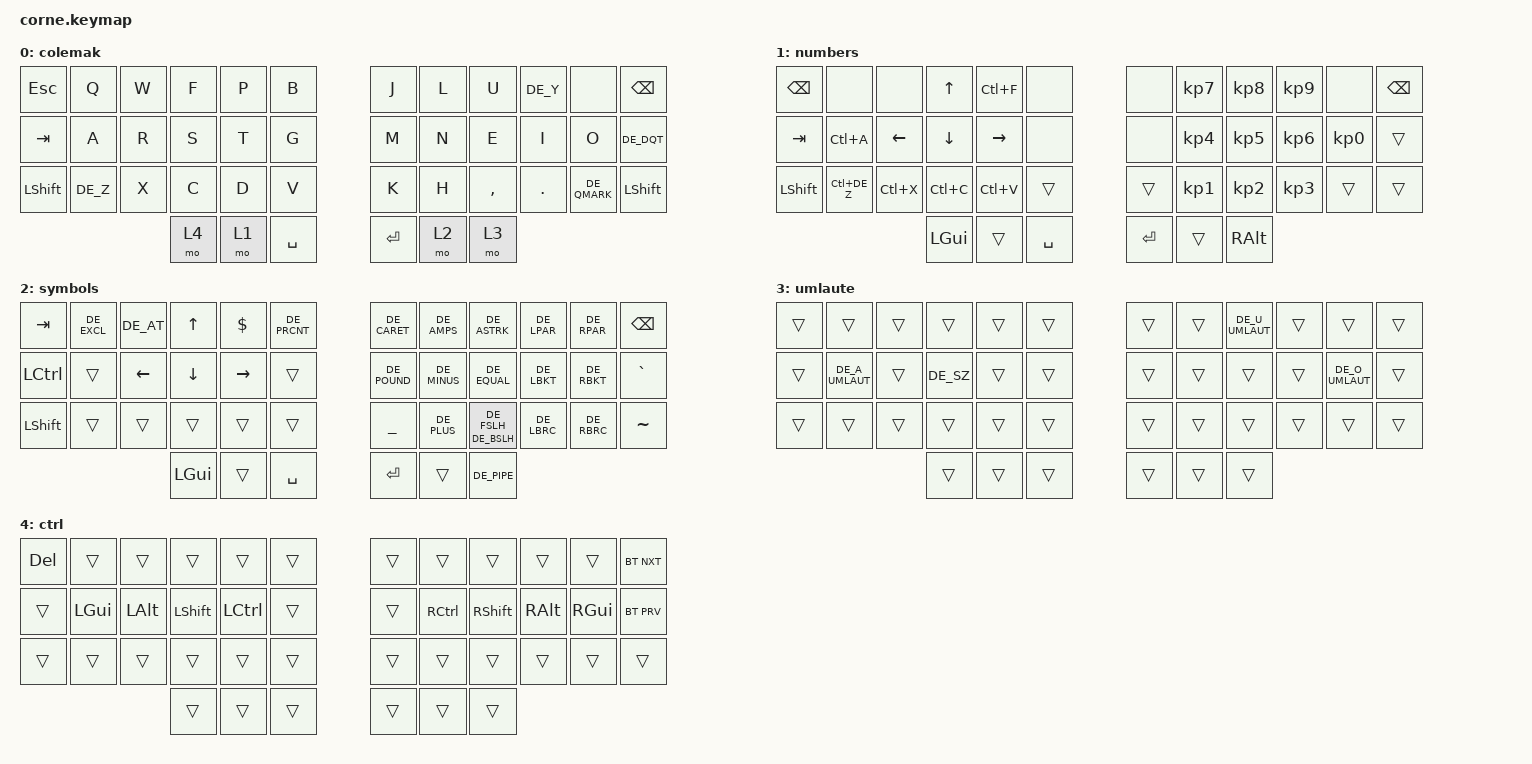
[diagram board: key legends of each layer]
// ZMK includes
#include <behaviors.dtsi>
#include <dt-bindings/zmk/keys.h>
#include <dt-bindings/zmk/bt.h>
#include <locale/keys_de.h>
#include <dt-bindings/zmk/outputs.h>

// Personal includes
// #include "includes/behaviours_homerow_mods.dtsi"

/ {
    keymap {
        compatible = "zmk,keymap";

        colemak { 
            bindings = <
        // ╭────────────────────────┬────────────────────────┬────────────────────────┬────────────────────────┬────────────────────────┬────────────────────────╮    ╭────────────────────────┬────────────────────────┬────────────────────────┬───────────────────────┬────────────────────────┬────────────────────────╮
             &kp ESCAPE               &kp Q                    &kp W                    &kp F                    &kp P                    &kp B                         &kp J                    &kp L                    &kp U                    &kp DE_Y                &none                    &kp BSPC
        // ├────────────────────────┼────────────────────────┼────────────────────────┼────────────────────────┼────────────────────────┼────────────────────────┤    ├────────────────────────┼────────────────────────┼────────────────────────┼───────────────────────┼────────────────────────┼────────────────────────┤
             &kp TAB                  &kp A                    &kp R                    &kp S                    &kp T                    &kp G                         &kp M                    &kp N                    &kp E                    &kp I                   &kp O                    &kp DE_DQT
        // ├────────────────────────┼────────────────────────┼────────────────────────┼────────────────────────┼────────────────────────┼────────────────────────┤    ├────────────────────────┼────────────────────────┼────────────────────────┼───────────────────────┼────────────────────────┼────────────────────────┤
             &kp LSHFT                &kp DE_Z                 &kp X                    &kp C                    &kp D                    &kp V                         &kp K                    &kp H                    &kp COMMA                &kp DOT                 &kp DE_QMARK             &kp LSHFT
        // ╰────────────────────────┴────────────────────────┴────────────────────────┴────────────────────────┼────────────────────────┼────────────────────────┤    ├────────────────────────┼────────────────────────┼────────────────────────┼───────────────────────┼────────────────────────┼────────────────────────╯ 
                                                                                        &mo 4                    &mo 1                    &kp SPACE                     &kp RET                  &mo 2                    &mo 3
        //                                                                            ╰────────────────────────┴────────────────────────┴────────────────────────╯    ╰────────────────────────┴────────────────────────┴────────────────────────╯
            >; 
        };

        //mo1
        numbers {
            bindings = <
        // ╭────────────────────────┬────────────────────────┬────────────────────────┬────────────────────────┬────────────────────────┬────────────────────────╮    ╭────────────────────────┬────────────────────────┬────────────────────────┬───────────────────────┬────────────────────────┬────────────────────────╮
             &kp BSPC                 &none                    &none                    &kp UP_ARROW             &kp LC(F)                &none                         &none                    &kp KP_NUMBER_7          &kp KP_NUMBER_8          &kp KP_NUMBER_9         &none                    &kp BSPC
        // ├────────────────────────┼────────────────────────┼────────────────────────┼────────────────────────┼────────────────────────┼────────────────────────┤    ├────────────────────────┼────────────────────────┼────────────────────────┼───────────────────────┼────────────────────────┼────────────────────────┤
             &kp TAB                  &kp LC(A)                &kp LEFT_ARROW           &kp DOWN                 &kp RIGHT                &none                         &none                    &kp KP_NUMBER_4          &kp KP_NUMBER_5          &kp KP_NUMBER_6         &kp KP_NUMBER_0          &trans
        // ├────────────────────────┼────────────────────────┼────────────────────────┼────────────────────────┼────────────────────────┼────────────────────────┤    ├────────────────────────┼────────────────────────┼────────────────────────┼───────────────────────┼────────────────────────┼────────────────────────┤
             &kp LSHFT                &kp LC(DE_Z)             &kp LC(X)                &kp LC(C)                &kp LC(V)                &trans                        &trans                   &kp KP_NUMBER_1          &kp KP_NUMBER_2          &kp KP_NUMBER_3         &trans                   &trans 
        // ├────────────────────────┼────────────────────────┼────────────────────────┼────────────────────────┼────────────────────────┼────────────────────────┤    ├────────────────────────┼────────────────────────┼────────────────────────┼───────────────────────┼────────────────────────┼────────────────────────┤
                                                                                        &kp LGUI                 &trans                   &kp SPACE                     &kp RET                  &trans                   &kp RALT
        //                                                                            ╰────────────────────────┴────────────────────────┴────────────────────────╯    ╰────────────────────────┴────────────────────────┴────────────────────────╯
            >;
        };

        //mo2
        symbols {
            bindings = <
        // ╭────────────────────────┬────────────────────────┬────────────────────────┬────────────────────────┬────────────────────────┬────────────────────────╮    ╭────────────────────────┬────────────────────────┬────────────────────────┬───────────────────────┬────────────────────────┬────────────────────────╮
            &kp TAB                   &kp DE_EXCL              &kp DE_AT                &kp UP_ARROW             &kp DLLR                 &kp DE_PRCNT                  &kp DE_CARET             &kp DE_AMPS              &kp DE_ASTRK             &kp DE_LPAR             &kp DE_RPAR              &kp BSPC
        // ├────────────────────────┼────────────────────────┼────────────────────────┼────────────────────────┼────────────────────────┼────────────────────────┤    ├────────────────────────┼────────────────────────┼────────────────────────┼───────────────────────┼────────────────────────┼────────────────────────┤
            &kp LCTRL                 &trans                   &kp LEFT_ARROW           &kp DOWN                 &kp RIGHT                &trans                        &kp DE_POUND             &kp DE_MINUS             &kp DE_EQUAL             &kp DE_LBKT             &kp DE_RBKT              &kp GRAVE
        // ├────────────────────────┼────────────────────────┼────────────────────────┼────────────────────────┼────────────────────────┼────────────────────────┤    ├────────────────────────┼────────────────────────┼────────────────────────┼───────────────────────┼────────────────────────┼────────────────────────┤
            &kp LSHFT                 &trans                   &trans                   &trans                   &trans                   &trans                        &kp UNDER                &kp DE_PLUS              &mt DE_BSLH DE_FSLH      &kp DE_LBRC             &kp DE_RBRC              &kp TILDE
        // ├────────────────────────┼────────────────────────┼────────────────────────┼────────────────────────┼────────────────────────┼────────────────────────┤    ├────────────────────────┼────────────────────────┼────────────────────────┼───────────────────────┼────────────────────────┼────────────────────────┤
                                                                                        &kp LGUI                 &trans                   &kp SPACE                     &kp RET                  &trans                   &kp DE_PIPE
        //                                                                            ╰────────────────────────┴────────────────────────┴────────────────────────╯    ╰────────────────────────┴────────────────────────┴────────────────────────╯
            >;
        };

        //mo3
        umlaute {
            bindings = <
        // ╭────────────────────────┬────────────────────────┬────────────────────────┬────────────────────────┬────────────────────────┬────────────────────────╮    ╭────────────────────────┬────────────────────────┬────────────────────────┬───────────────────────┬────────────────────────┬────────────────────────╮
             &trans                   &trans                   &trans                   &trans                   &trans                   &trans                        &trans                   &trans                   &kp DE_U_UMLAUT          &trans                  &trans                   &trans
        // ├────────────────────────┼────────────────────────┼────────────────────────┼────────────────────────┼────────────────────────┼────────────────────────┤    ├────────────────────────┼────────────────────────┼────────────────────────┼───────────────────────┼────────────────────────┼────────────────────────┤
             &trans                   &kp DE_A_UMLAUT          &trans                   &kp DE_SZ                &trans                   &trans                        &trans                   &trans                   &trans                   &trans                  &kp DE_O_UMLAUT          &trans
        // ├────────────────────────┼────────────────────────┼────────────────────────┼────────────────────────┼────────────────────────┼────────────────────────┤    ├────────────────────────┼────────────────────────┼────────────────────────┼───────────────────────┼────────────────────────┼────────────────────────┤
             &trans                   &trans                   &trans                   &trans                   &trans                   &trans                        &trans                   &trans                   &trans                   &trans                  &trans                   &trans
        // ├────────────────────────┼────────────────────────┼────────────────────────┼────────────────────────┼────────────────────────┼────────────────────────┤    ├────────────────────────┼────────────────────────┼────────────────────────┼───────────────────────┼────────────────────────┼────────────────────────┤
                                                                                        &trans                   &trans                   &trans                        &trans                   &trans                   &trans
        //                                                                            ╰────────────────────────┴────────────────────────┴────────────────────────╯    ╰────────────────────────┴────────────────────────┴────────────────────────╯

            >;
        };

        //mo4
        ctrl {
            bindings = <
        // ╭────────────────────────┬────────────────────────┬────────────────────────┬────────────────────────┬────────────────────────┬────────────────────────╮    ╭────────────────────────┬────────────────────────┬────────────────────────┬───────────────────────┬────────────────────────┬────────────────────────╮
             &kp DEL                  &trans                   &trans                   &trans                   &trans                   &trans                        &trans                   &trans                   &trans                   &trans                  &trans                   &bt BT_NXT
        // ├────────────────────────┼────────────────────────┼────────────────────────┼────────────────────────┼────────────────────────┼────────────────────────┤    ├────────────────────────┼────────────────────────┼────────────────────────┼───────────────────────┼────────────────────────┼────────────────────────┤
             &trans                   &kp LGUI                 &kp LALT                 &kp LSHFT                &kp LCTRL                &trans                        &trans                   &kp RCTRL                &kp RSHFT                &kp RALT                &kp RGUI                 &bt BT_PRV
        // ├────────────────────────┼────────────────────────┼────────────────────────┼────────────────────────┼────────────────────────┼────────────────────────┤    ├────────────────────────┼────────────────────────┼────────────────────────┼───────────────────────┼────────────────────────┼────────────────────────┤
             &trans                   &trans                   &trans                   &trans                   &trans                   &trans                        &trans                   &trans                   &trans                   &trans                  &trans                   &trans
        // ├────────────────────────┼────────────────────────┼────────────────────────┼────────────────────────┼────────────────────────┼────────────────────────┤    ├────────────────────────┼────────────────────────┼────────────────────────┼───────────────────────┼────────────────────────┼────────────────────────┤
                                                                                        &trans                   &trans                   &trans                        &trans                   &trans                   &trans
        //                                                                            ╰────────────────────────┴────────────────────────┴────────────────────────╯    ╰────────────────────────┴────────────────────────┴────────────────────────╯

            >;
        };


    };
};
